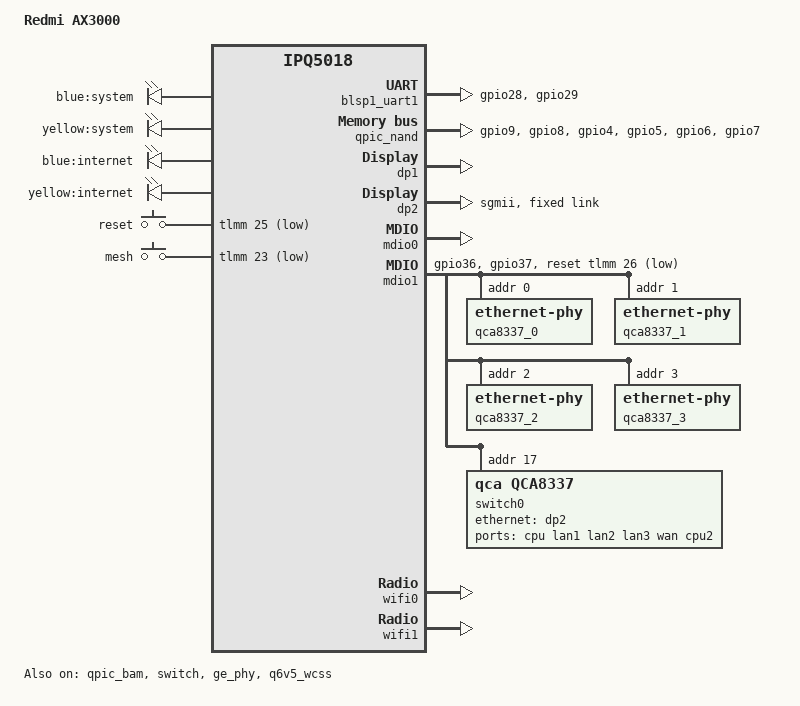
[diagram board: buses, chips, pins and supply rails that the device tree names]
// SPDX-License-Identifier: (GPL-2.0+)

/dts-v1/;

#include "ipq5018.dtsi"
#include "ipq5018-ess.dtsi"
#include <dt-bindings/gpio/gpio.h>
#include <dt-bindings/input/input.h>

/ {
	model = "Redmi AX3000";
	compatible = "redmi,ax3000", "qcom,ipq5018";

	aliases {
		serial0 = &blsp1_uart1;

		ethernet0 = &dp1;
		ethernet1 = &dp2;

		led-boot = &led_system_blue;
		led-failsafe = &led_system_yellow;
		led-running = &led_system_blue;
		led-upgrade = &led_system_yellow;
	};

	chosen {
		// Override the root parameter from u-boot
		// Increase coherent_pool size for WiFi
		bootargs-append = " root=/dev/ubiblock0_1 coherent_pool=2M";
		stdout-path = "serial0:115200n8";
	};

	reserved-memory {
		// Not sure why but without this, WiFi will crash
		tz_apps@4a400000 {
			no-map;
			// The size is incorrent, but it works
			reg = <0x0 0x4a400000 0x0 0x700000>;
		};

		q6_mem_regions: q6_mem_regions@4b000000 {
			no-map;
			// reg = <0x0 0x4b000000 0x0 0x3b00000>;
			reg = <0x0 0x4b000000 0x0 0x3000000>;
		};
	};
};

&tlmm {
	blsp_uart0_pins: blsp_uart0_pins {
		pins =
			"gpio28", /* RX */
			"gpio29"; /* TX */
		function = "blsp0_uart1";
		drive-strength = <8>;
		bias-disable;
	};

	qspi_nand_pins: qspi_nand_pins {
		clock {
			pins = "gpio9";
			function = "qspi_clk";
			drive-strength = <8>;
			bias-disable;
		};

		cs {
			pins = "gpio8";
			function = "qspi_cs";
			drive-strength = <8>;
			bias-disable;
		};

		data {
			pins = "gpio4", "gpio5", "gpio6", "gpio7";
			function = "qspi_data";
			drive-strength = <8>;
			bias-disable;
		};
	};

	mdio1_pins: mdio1_pins {
		mdc {
			pins = "gpio36";
			function = "mdc";
			drive-strength = <8>;
			bias-pull-up;
		};

		mdio {
			pins = "gpio37";
			function = "mdio";
			drive-strength = <8>;
			bias-pull-up;
		};
	};

	leds_pins: leds_pins {
		led_system_blue {
			pins = "gpio19";
			function = "gpio";
			drive-strength = <8>;
			bias-pull-down;
		};

		led_system_yellow {
			pins = "gpio17";
			function = "gpio";
			drive-strength = <8>;
			bias-pull-down;
		};

		led_internet_blue {
			pins = "gpio22";
			function = "gpio";
			drive-strength = <8>;
			bias-pull-down;
		};

		led_internet_yellow {
			pins = "gpio20";
			function = "gpio";
			drive-strength = <8>;
			bias-pull-down;
		};
	};

	button_pins: button_pins {
		button_reset {
			pins = "gpio25";
			function = "gpio";
			drive-strength = <8>;
			bias-pull-up;
		};

		button_mesh {
			pins = "gpio23";
			function = "gpio";
			drive-strength = <8>;
			bias-pull-up;
		};
	};
};

&blsp1_uart1 {
	pinctrl-0 = <&blsp_uart0_pins>;
	pinctrl-names = "default";
	status = "okay";
};

&qpic_bam {
	status = "okay";
};

&qpic_nand {
	pinctrl-0 = <&qspi_nand_pins>;
	pinctrl-names = "default";
	status = "okay";
};

&soc {
	leds {
		compatible = "gpio-leds";
		pinctrl-0 = <&leds_pins>;
		pinctrl-names = "default";

		led_system_blue: led_system_blue {
			label = "blue:system";
			gpio = <&tlmm 19 GPIO_ACTIVE_HIGH>;
			default-state = "on";
		};

		led_system_yellow: led_system_yellow {
			label = "yellow:system";
			gpio = <&tlmm 17 GPIO_ACTIVE_HIGH>;
		};

		led_internet_blue: led_internet_blue {
			label = "blue:internet";
			gpio = <&tlmm 22 GPIO_ACTIVE_HIGH>;
		};

		led_internet_yellow: led_internet_yellow {
			label = "yellow:internet";
			gpio = <&tlmm 20 GPIO_ACTIVE_HIGH>;
		};
	};

	button {
		compatible = "gpio-keys";
		pinctrl-0 = <&button_pins>;
		pinctrl-names = "default";

		button_reset {
			label = "reset";
			gpios = <&tlmm 25 GPIO_ACTIVE_LOW>;
			linux,input-type = <EV_KEY>;
			linux,code = <KEY_RESTART>;
			debounce-interval = <60>;
		};

		button_mesh {
			label = "mesh";
			gpios = <&tlmm 23 GPIO_ACTIVE_LOW>;
			linux,input-type = <EV_KEY>;
			linux,code = <KEY_WPS_BUTTON>;
			debounce-interval = <60>;
		};
	};
};

&switch {
	status = "okay";

	// mdio-bus = <&mdio0>;

	// switch_cpu_bmp = <ESS_PORT0>;
	// switch_lan_bmp = <(ESS_PORT1 | ESS_PORT2)>;
	switch_mac_mode = <MAC_MODE_SGMII_CHANNEL0>;

	qcom,port_phyinfo {
		// MAC0 -> GE Phy -> QCA8337 Phy4
		port@0 {
			port_id = <1>;
			mdiobus = <&mdio0>;
			phy_address = <7>;
			phy_dac = <0x10 0x10>;
			// status = "disabled";
		};

		// MAC1 ---SGMII---> QCA8337 SerDes
		port@1 {
			port_id = <2>;
			forced-speed = <1000>;
			forced-duplex = <1>;
		};
	};
};

// MAC0 -> GE Phy
&dp1 {
	/*
	 * ===============================================================
	 *     _______________________         _______________________
	 *    |        IPQ5018        |       |        QCA8337        |
	 *    | +------+   +--------+ |       | +--------+   +------+ |
	 *    | | MAC0 |---| GE Phy |-+--UTP--+-|  Phy4  |---| MAC5 | |
	 *    | +------+   +--------+ |       | +--------+   +------+ |
	 *    | +------+   +--------+ |       | +--------+   +------+ |
	 *    | | MAC1 |---| Uniphy |-+-SGMII-+-| SerDes |---| MAC0 | |
	 *    | +------+   +--------+ |       | +--------+   +------+ |
	 *    |_______________________|       |_______________________|
	 *
	 * ===============================================================
	 *
	 * Current drivers don't support such topology. So dp1 and ge_phy
	 * are useless. But they can't be disabled dut to qca-ssdk use
	 * ge_phy to detect IPQ5018 dummy switch.
	 */
	status = "okay";
};

// MAC1 ---SGMII---> QCA8337 SerDes
&dp2 {
	status = "okay";
	phy-mode = "sgmii";

	fixed-link {
		speed = <1000>;
		full-duplex;
	};
};

&mdio0 {
	status = "okay";
};

// IPQ5018 GE Phy -> QCA8337 Phy4
&ge_phy {
	status = "okay";
};

&mdio1 {
	pinctrl-0 = <&mdio1_pins>;
	pinctrl-names = "default";
	status = "okay";

	reset-gpios = <&tlmm 26 GPIO_ACTIVE_LOW>;

	// QCA8337 Phy0 -> LAN1
	qca8337_0: ethernet-phy@0 {
		reg = <0>;
	};

	// QCA8337 Phy1 -> LAN2
	qca8337_1: ethernet-phy@1 {
		reg = <1>;
	};

	// QCA8337 Phy2 -> LAN3
	qca8337_2: ethernet-phy@2 {
		reg = <2>;
	};

	// QCA8337 Phy3 -> WAN
	qca8337_3: ethernet-phy@3 {
		reg = <3>;
	};

	// QCA8337 Phy4 -> IPQ5018 GE Phy
	qca8337_4: ethernet-phy@4 {
		reg = <4>;
		status = "disabled";
	};

	switch0: ethernet-switch@17 {
		compatible = "qca,qca8337";
		reg = <17>;

		ports {
			#address-cells = <1>;
			#size-cells = <0>;

			switch0cpu: port@0 {
				reg = <0>;
				label = "cpu";
				phy-mode = "sgmii";
				ethernet = <&dp2>;
				qca,sgmii-enable-pll;

				fixed-link {
					speed = <1000>;
					full-duplex;
				};
			};

			port@1 {
				reg = <1>;
				label = "lan1";
				phy-handle = <&qca8337_0>;
			};

			port@2 {
				reg = <2>;
				label = "lan2";
				phy-handle = <&qca8337_1>;
			};

			port@3 {
				reg = <3>;
				label = "lan3";
				phy-handle = <&qca8337_2>;
			};

			port@4 {
				reg = <4>;
				label = "wan";
				phy-handle = <&qca8337_3>;
			};

			port@5 {
				reg = <5>;
				label = "cpu2";
				phy-handle = <&qca8337_4>;
				status = "disabled";
			};
		};
	};
};

&q6v5_wcss {
	memory-region = <&q6_mem_regions>;

	firmware-name = "IPQ5018/q6_fw.mdt",
			"IPQ5018/m3_fw.mdt",
			"qcn6122/m3_fw.mdt";

	qcom,bootargs_smem = <507>;
	boot-args = </*       type: */ 0x2 /* PCIE1 */
		     /*     length: */ 4
		     /*      PD id: */ 2
		     /* reset GPIO: */ 27
		     /*   reserved: */ 0 0>;

	status = "okay";

	// IPQ5018
	q6_wcss_pd1: pd-1 {
		resets =
			<&gcc GCC_WCSSAON_RESET>,
			<&gcc GCC_WCSS_BCR>,
			<&gcc GCC_CE_BCR>;
		reset-names =
			"wcss_aon_reset",
			"wcss_reset",
			"ce_reset";

		clocks =
			<&gcc GCC_WCSS_AHB_S_CLK>,
			<&gcc GCC_WCSS_ACMT_CLK>,
			<&gcc GCC_WCSS_AXI_M_CLK>;
		clock-names =
			"gcc_wcss_ahb_s_clk",
					"gcc_wcss_acmt_clk",
					"gcc_wcss_axi_m_clk";

		reg = <0x4ab000 0x20>;
		reg-names = "rmb";

		// qcom,halt-regs = <&tcsr_q6_block 0xa000 0xd000 0x0>;

		interrupts-extended =
			<&wcss_smp2p_in 8 0>,
			<&wcss_smp2p_in 9 0>,
			<&wcss_smp2p_in 12 0>,
			<&wcss_smp2p_in 11 0>;
		interrupt-names =
			"fatal",
			"ready",
			"spawn-ack",
			"stop-ack";

		qcom,smem-states =
			<&wcss_smp2p_out 8>,
			<&wcss_smp2p_out 9>,
			<&wcss_smp2p_out 10>;
		qcom,smem-state-names =
			"shutdown",
			"stop",
			"spawn";

		firmware-name = "IPQ5018/q6_fw.mdt";
		// m3_firmware = "IPQ5018/m3_fw.mdt";
	};

	// QCN6102
	q6_wcss_pd2: pd-2 {
		interrupts-extended =
			<&wcss_smp2p_in 16 0>,
			<&wcss_smp2p_in 17 0>,
			<&wcss_smp2p_in 20 0>,
			<&wcss_smp2p_in 19 0>;
		interrupt-names =
			"fatal",
			"ready",
			"spawn-ack",
			"stop-ack";

		qcom,smem-states =
			<&wcss_smp2p_out 16>,
			<&wcss_smp2p_out 17>,
			<&wcss_smp2p_out 18>;
		qcom,smem-state-names =
			"shutdown",
			"stop",
			"spawn";

		firmware-name = "IPQ5018/q6_fw.mdt";
		// m3_firmware = "qcn6122/m3_fw.mdt";
	};
};

&wifi0 {
	// IPQ5000
	qcom,multipd_arch;
	qcom,rproc = <&q6_wcss_pd1>;
	qcom,userpd-subsys-name = "q6v5_wcss_userpd1";

	// Be overridden by /etc/hotplug.d/firmware/10-ath11k-board_id
	// M79: 0x10
	// M81: 0x24
	qcom,board_id = <0x24>;

	// qcom,ath11k-fw-memory-mode = <0>;
	// qcom,bdf-addr = <0x4c400000>;
	// qcom,caldb-addr = <0x4d200000>;
	// qcom,m3-dump-addr = <0x4d400000>;

	qcom,ath11k-fw-memory-mode = <2>;
	qcom,bdf-addr = <0x4c400000>;

	status = "okay";
};

&wifi1 {
	// QCN6102
	qcom,multipd_arch;
	qcom,rproc = <&q6_wcss_pd2>;
	qcom,userpd-subsys-name = "q6v5_wcss_userpd2";

	qcom,board_id = <0x60>;

	// qcom,ath11k-fw-memory-mode = <0>;
	// qcom,bdf-addr = <0x4d500000>;
	// qcom,caldb-addr = <0x4e500000>;
	// qcom,m3-dump-addr = <0x4ea00000>;

	qcom,ath11k-fw-memory-mode = <2>;
	qcom,bdf-addr = <0x4d100000>;
	qcom,m3-dump-addr = <0x4df00000>;

	status = "okay";
};
